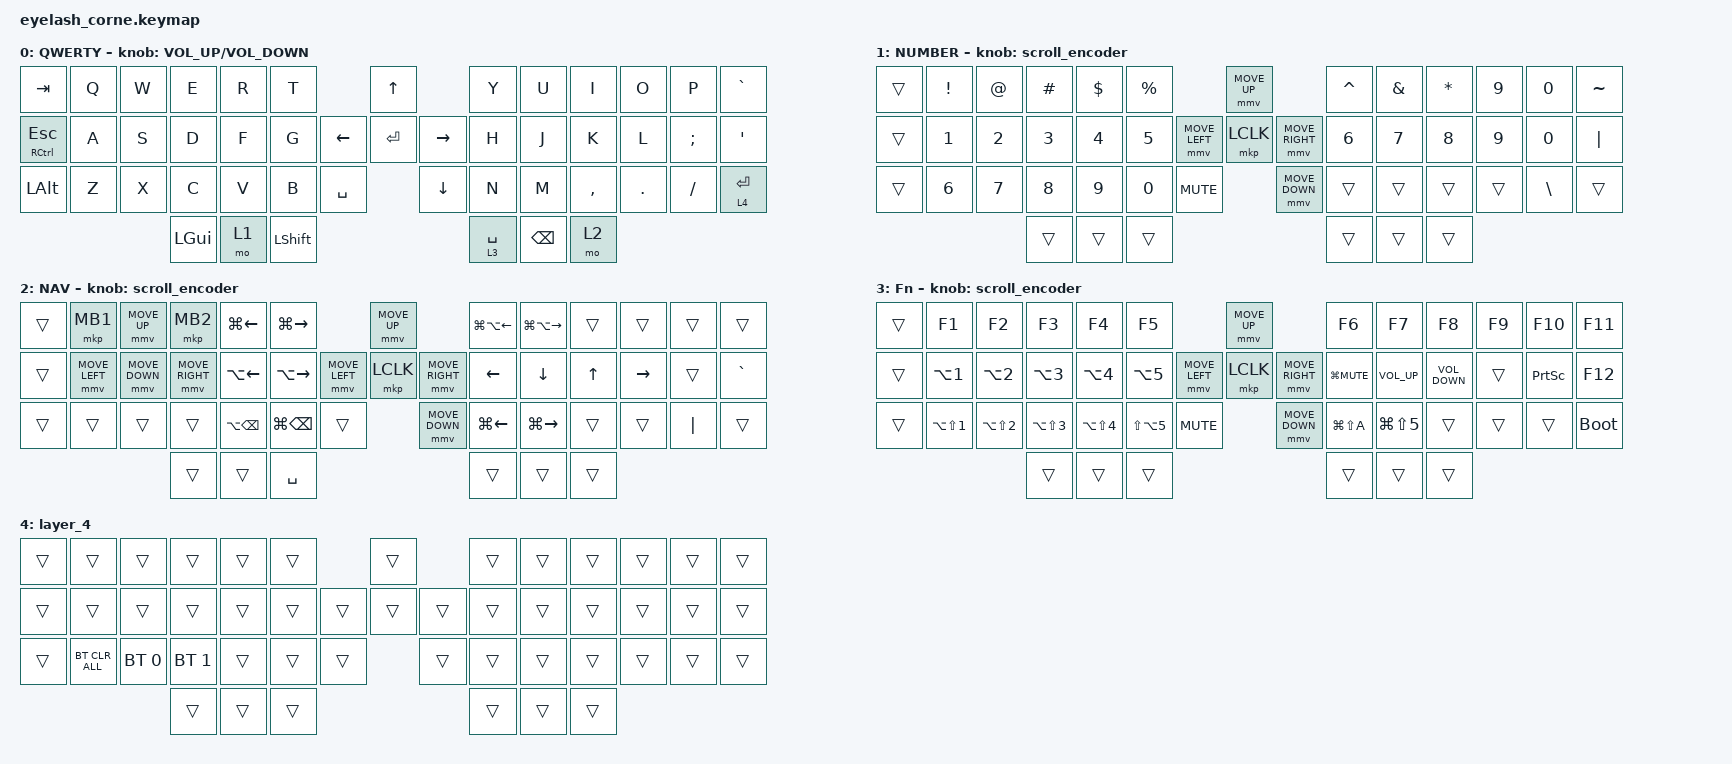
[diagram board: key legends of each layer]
#define ZMK_POINTING_DEFAULT_MOVE_VAL 1200  // 600
#define ZMK_POINTING_DEFAULT_SCRL_VAL 25   // 10

#include <input/processors.dtsi>
#include <zephyr/dt-bindings/input/input-event-codes.h>
#include <behaviors.dtsi>
#include <dt-bindings/zmk/bt.h>
#include <dt-bindings/zmk/keys.h>
#include <dt-bindings/zmk/pointing.h>
#include <dt-bindings/zmk/rgb.h>

&mmv_input_listener { input-processors = <&zip_xy_scaler 2 1>; };

&msc_input_listener { input-processors = <&zip_scroll_scaler 2 1>; };

&msc {
    acceleration-exponent = <1>;      // 0
    time-to-max-speed-ms = <100>;       // 300
    delay-ms = <0>;                   // 0
};

&mmv {
    time-to-max-speed-ms = <500>;
    acceleration-exponent = <1>;
    trigger-period-ms = <16>;
};

/ {
    behaviors {
        td0: td0 {
            compatible = "zmk,behavior-tap-dance";
            display-name = "Shift/Caps Lock Tap Dance";
            #binding-cells = <0>;
            bindings = <&kp LEFT_SHIFT>, <&kp CAPS>;
        };

        tap_hold0: tap_hold0 {
            compatible = "zmk,behavior-hold-tap";
            label = "TAP_HOLD0";
            bindings = <&kp>, <&kp>;

            #binding-cells = <2>;
            tapping-term-ms = <200>;
            flavor = "tap-preferred";
        };
    };

    rgb_encoder: rgb_encoder {
        compatible = "zmk,behavior-sensor-rotate";
        #sensor-binding-cells = <0>;
        bindings = <&rgb_ug RGB_BRI>, <&rgb_ug RGB_BRD>;
    };

    scroll_encoder: scroll_encoder {
        compatible = "zmk,behavior-sensor-rotate";
        #sensor-binding-cells = <0>;
        bindings = <&msc SCRL_DOWN>, <&msc SCRL_UP>;

        tap-ms = <100>;
    };

    combos {
        compatible = "zmk,combos";

        left_paren {
            bindings = <&kp LEFT_PARENTHESIS>;
            key-positions = <2 3>;
            timeout-ms = <50>;
            require-prior-idle-ms = <150>;
        };

        right_parem {
            bindings = <&kp RIGHT_PARENTHESIS>;
            key-positions = <3 4>;
            timeout-ms = <50>;
            require-prior-idle-ms = <150>;
        };

        left_brace {
            bindings = <&kp LEFT_BRACE>;
            key-positions = <30 31>;
            timeout-ms = <50>;
            require-prior-idle-ms = <150>;
        };

        right_brace {
            bindings = <&kp RIGHT_BRACE>;
            key-positions = <31 32>;
            timeout-ms = <50>;
            require-prior-idle-ms = <150>;
        };

        left_bracket {
            bindings = <&kp LEFT_BRACKET>;
            key-positions = <15 16>;
            timeout-ms = <50>;
            require-prior-idle-ms = <150>;
        };

        right_bracket {
            bindings = <&kp RIGHT_BRACKET>;
            key-positions = <16 17>;
            timeout-ms = <50>;
            require-prior-idle-ms = <150>;
        };

        dash {
            bindings = <&kp MINUS>;
            key-positions = <9 8>;
            timeout-ms = <50>;
            require-prior-idle-ms = <150>;
        };

        underscore {
            bindings = <&kp UNDERSCORE>;
            key-positions = <9 10>;
            timeout-ms = <50>;
            require-prior-idle-ms = <150>;
        };

        equals {
            bindings = <&kp EQUAL>;
            key-positions = <23 24>;
            timeout-ms = <50>;
            require-prior-idle-ms = <150>;
        };

        plus {
            bindings = <&kp PLUS>;
            key-positions = <24 25>;
            timeout-ms = <50>;
            require-prior-idle-ms = <150>;
        };
    };

    keymap {
        compatible = "zmk,keymap";

        default_layer {
            display-name = "QWERTY";
            bindings = <
&kp TAB                          &kp Q  &kp W  &kp E     &kp R  &kp T                                  &kp UP                &kp Y        &kp U          &kp I      &kp O    &kp P     &kp GRAVE
&tap_hold0 RIGHT_CONTROL ESCAPE  &kp A  &kp S  &kp D     &kp F  &kp G                        &kp LEFT  &kp ENTER  &kp RIGHT  &kp H        &kp J          &kp K      &kp L    &kp SEMI  &kp SQT
&kp LEFT_ALT                     &kp Z  &kp X  &kp C     &kp V  &kp B           &kp SPACE              &kp DOWN              &kp N        &kp M          &kp COMMA  &kp DOT  &kp FSLH  &lt 4 ENTER
                                               &kp LGUI  &mo 1  &kp LEFT_SHIFT                                               &lt 3 SPACE  &kp BACKSPACE  &mo 2
            >;

            sensor-bindings = <&inc_dec_kp C_VOLUME_UP C_VOLUME_DOWN>;
        };

        lower_layer {
            display-name = "NUMBER";
            bindings = <
&trans  &kp EXCLAMATION  &kp AT_SIGN   &kp HASH      &kp DOLLAR    &kp PERCENT                                 &mmv MOVE_UP                     &kp CARET     &kp AMPERSAND  &kp ASTERISK  &kp N9        &kp N0         &kp TILDE
&trans  &kp NUMBER_1     &kp NUMBER_2  &kp NUMBER_3  &kp NUMBER_4  &kp NUMBER_5                &mmv MOVE_LEFT  &mkp LCLK       &mmv MOVE_RIGHT  &kp NUMBER_6  &kp NUMBER_7   &kp NUMBER_8  &kp NUMBER_9  &kp NUMBER_0   &kp PIPE
&trans  &kp NUMBER_6     &kp N7        &kp NUMBER_8  &kp NUMBER_9  &kp NUMBER_0  &kp C_MUTE                    &mmv MOVE_DOWN                   &trans        &trans         &trans        &trans        &kp BACKSLASH  &trans
                                       &trans        &trans        &trans                                                                       &trans        &trans         &trans
            >;

            sensor-bindings = <&scroll_encoder>;
        };

        raise_layer {
            display-name = "NAV";
            bindings = <
&trans  &mkp MB1        &mmv MOVE_UP    &mkp MB2         &kp LG(LEFT_ARROW)  &kp LG(RIGHT)                                  &mmv MOVE_UP                     &kp LG(LA(LEFT_ARROW))  &kp LG(LA(RIGHT_ARROW))  &trans        &trans     &trans    &trans
&trans  &mmv MOVE_LEFT  &mmv MOVE_DOWN  &mmv MOVE_RIGHT  &kp LA(LEFT_ARROW)  &kp LA(RIGHT_ARROW)            &mmv MOVE_LEFT  &mkp LCLK       &mmv MOVE_RIGHT  &kp LEFT_ARROW          &kp DOWN                 &kp UP_ARROW  &kp RIGHT  &trans    &kp GRAVE
&trans  &trans          &trans          &trans           &kp LA(BACKSPACE)   &kp LG(BACKSPACE)    &trans                    &mmv MOVE_DOWN                   &kp LG(LEFT_ARROW)      &kp LG(RIGHT_ARROW)      &trans        &trans     &kp PIPE  &trans
                                        &trans           &trans              &kp SPACE                                                                       &trans                  &trans                   &trans
            >;

            sensor-bindings = <&scroll_encoder>;
        };

        layer_3 {
            display-name = "Fn";
            bindings = <
&trans  &kp F1                &kp F2                &kp F3                &kp F4                &kp F5                                              &mmv MOVE_UP                     &kp F6          &kp F7                &kp F8             &kp F9  &kp F10          &kp F11
&trans  &kp LA(NUMBER_1)      &kp LA(NUMBER_2)      &kp LA(NUMBER_3)      &kp LA(NUMBER_4)      &kp LA(NUMBER_5)                    &mmv MOVE_LEFT  &mkp LCLK       &mmv MOVE_RIGHT  &kp LG(K_MUTE)  &kp C_VOLUME_UP       &kp C_VOLUME_DOWN  &trans  &kp PRINTSCREEN  &kp F12
&trans  &kp LA(LS(NUMBER_1))  &kp LA(LS(NUMBER_2))  &kp LA(LS(NUMBER_3))  &kp LA(LS(NUMBER_4))  &kp LS(LA(NUMBER_5))  &kp C_MUTE                    &mmv MOVE_DOWN                   &kp LG(LS(A))   &kp LG(LS(NUMBER_5))  &trans             &trans  &trans           &bootloader
                                                    &trans                &trans                &trans                                                                               &trans          &trans                &trans
            >;

            sensor-bindings = <&scroll_encoder>;
        };

        layer_4 {
            bindings = <
&trans  &trans          &trans        &trans        &trans  &trans                    &trans          &trans  &trans  &trans  &trans  &trans  &trans
&trans  &trans          &trans        &trans        &trans  &trans            &trans  &trans  &trans  &trans  &trans  &trans  &trans  &trans  &trans
&trans  &bt BT_CLR_ALL  &bt BT_SEL 0  &bt BT_SEL 1  &trans  &trans  &trans            &trans          &trans  &trans  &trans  &trans  &trans  &trans
                                      &trans        &trans  &trans                                    &trans  &trans  &trans
            >;
        };
    };
};
